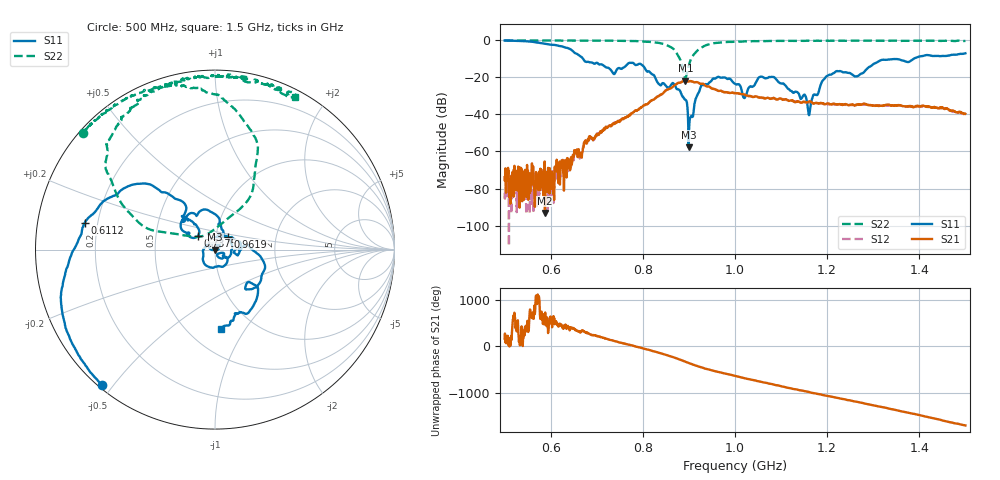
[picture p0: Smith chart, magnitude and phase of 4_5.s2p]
!Agilent Technologies,E8364B,US42250235,A.06.04.32
!Agilent E8364B: A.06.04.32
!Date: Friday, January 15, 2021 14:54:56
!Correction: S11(Full 2 Port(1,2)) S21(Full 2 Port(1,2)) S12(Full 2 Port(1,2)) S22(Full 2 Port(1,2))
!S2P File: Measurements: S11, S21, S12, S22:
# Hz S  dB  R 50
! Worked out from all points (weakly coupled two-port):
!   1601 points, 500 MHz to 1.5 GHz, reference 50 ohm
!   highest |S21| = -21.80 dB at 892.5 MHz (marker M1); lowest = -93.2 dB at 587.5 MHz (marker M2)
!   lowest |S11| = -57.8 dB at 899.4 MHz (marker M3), VSWR 1.00, Z = 50 - j0.128 ohm
!   |S11| at or under -10 dB: 670.2 MHz to 1.388 GHz (717.3 MHz wide, 69.7 % of centre)
!   |S22| runs from -20.3 to -0.1 dB; largest |S21 - S12| = 0.0026
!   S11 on the Smith chart (normalised r, x): 500 MHz: 0.01, -0.47; 611.2 MHz: 0.15, +0.10; 737.5 MHz: 0.82, +0.13; 961.9 MHz: 1.14, +0.17; 1.5 GHz: 0.71, -0.78
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5e8  -0.15 -129.9  -73.84 169.6  -82.30 -70.7  -0.15 138.5
5.875e8  -1.91 -177.5  -93.25 -129.7  -76.86 144.7  -0.16 129.8
6.1125e8  -2.61 168.2  -70.23 174.1  -69.12 116.7  -0.15 127.4
6.66875e8  -9.09 127.0  -62.07 -24.1  -62.67 -4.9  -0.20 121.6
7.375e8  -18.26 140.7  -44.75 118.3  -44.47 121.3  -0.34 112.9
7.94375e8  -12.72 104.4  -36.60 -23.7  -36.59 -23.6  -0.62 101.7
8.3375e8  -23.44 70.8  -30.22 -130.6  -30.13 -130.1  -1.41 87.5
8.68125e8  -23.86 56.9  -24.44 124.2  -24.37 125.2  -5.20 65.1
8.925e8  -32.17 22.4  -21.80 31.3  -21.81 32.4  -20.30 121.4
8.99375e8  -57.77 -97.9  -22.23 7.4  -22.16 8.1  -13.97 156.0
9.0375e8  -41.45 158.3  -22.06 -8.7  -22.08 -8.0  -10.59 161.1
9.275e8  -24.15 120.7  -23.54 -86.5  -23.59 -86.2  -3.92 150.1
9.61875e8  -19.90 45.6  -27.07 177.9  -26.83 179.6  -1.40 134.3
1e9  -23.53 -39.7  -28.60 90.9  -28.52 92.2  -0.78 121.0
1.020625e9  -31.21 -56.3  -29.34 40.5  -29.53 41.4  -0.61 117.1
1.053125e9  -19.86 -52.7  -31.06 -29.6  -30.88 -28.5  -0.44 112.1
1.081875e9  -19.82 -110.2  -31.25 -89.3  -31.36 -90.0  -0.42 107.5
1.16e9  -40.04 28.7  -33.10 106.3  -33.66 105.3  -0.30 99.5
1.166875e9  -31.81 64.4  -33.58 86.4  -33.74 90.1  -0.32 97.6
1.201875e9  -18.98 37.7  -34.03 19.7  -34.64 20.4  -0.31 95.3
1.33375e9  -10.40 -31.2  -34.86 110.0  -35.15 112.8  -0.28 79.6
1.5e9  -7.04 -86.0  -39.66 108.7  -40.03 109.9  -0.37 62.5
